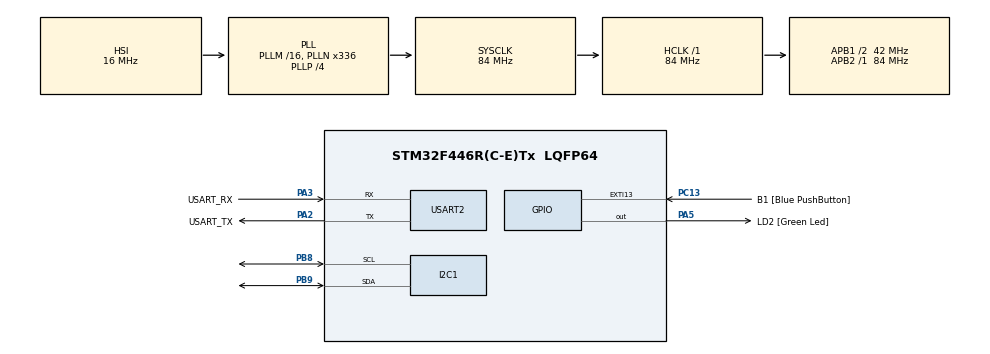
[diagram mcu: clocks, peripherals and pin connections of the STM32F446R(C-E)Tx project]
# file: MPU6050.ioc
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I2C1.I2C_Mode=I2C_Standard
Mcu.Family=STM32F4
Mcu.Name=STM32F446R(C-E)Tx
Mcu.Package=LQFP64
NVIC.PriorityGroup=NVIC_PRIORITYGROUP_0
PA13.GPIO_Label=TMS
PA13.Mode=Serial_Wire
PA13.Signal=SYS_JTMS-SWDIO
PA14.GPIO_Label=TCK
PA14.Mode=Serial_Wire
PA14.Signal=SYS_JTCK-SWCLK
PA2.GPIO_Label=USART_TX
PA2.Mode=Asynchronous
PA2.Signal=USART2_TX
PA3.GPIO_Label=USART_RX
PA3.Mode=Asynchronous
PA3.Signal=USART2_RX
PA5.GPIO_Label=LD2 [Green Led]
PA5.Signal=GPIO_Output
PB3.GPIO_Label=SWO
PB3.Signal=SYS_JTDO-SWO
PB8.Mode=I2C
PB8.Signal=I2C1_SCL
PB9.Mode=I2C
PB9.Signal=I2C1_SDA
PC13.GPIO_Label=B1 [Blue PushButton]
PC13.GPIO_ModeDefaultEXTI=GPIO_MODE_IT_FALLING
PC13.Signal=GPXTI13
PC14-OSC32_IN.Mode=LSE-External-Oscillator
PC14-OSC32_IN.Signal=RCC_OSC32_IN
PC15-OSC32_OUT.Mode=LSE-External-Oscillator
PC15-OSC32_OUT.Signal=RCC_OSC32_OUT
PH0-OSC_IN.Mode=HSE-External-Oscillator
PH0-OSC_IN.Signal=RCC_OSC_IN
PH1-OSC_OUT.Mode=HSE-External-Oscillator
PH1-OSC_OUT.Signal=RCC_OSC_OUT
ProjectManager.HeapSize=0x200
ProjectManager.StackSize=0x400
ProjectManager.TargetToolchain=STM32CubeIDE
RCC.48MHZClocksFreq_Value=84000000
RCC.AHBFreq_Value=84000000
RCC.APB1CLKDivider=RCC_HCLK_DIV2
RCC.APB1Freq_Value=42000000
RCC.APB1TimFreq_Value=84000000
RCC.APB2Freq_Value=84000000
RCC.APB2TimFreq_Value=84000000
RCC.CortexFreq_Value=84000000
RCC.FLatency-AdvancedSettings=FLASH_LATENCY_2
RCC.HCLKFreq_Value=84000000
RCC.HSE_VALUE=8000000
RCC.HSI_VALUE=16000000
RCC.PLLN=336
RCC.PLLP=RCC_PLLP_DIV4
RCC.SYSCLKFreq_VALUE=84000000
RCC.SYSCLKSource=RCC_SYSCLKSOURCE_PLLCLK
RCC.USBFreq_Value=168000000
RCC.VCOOutputFreq_Value=336000000
USART2.VirtualMode=VM_ASYNC
board=NUCLEO-F446RE

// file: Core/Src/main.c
/* USER CODE BEGIN Header */
/**
  ******************************************************************************
  * @file           : main.c
  * @brief          : Main program body
  ******************************************************************************
  * @attention
  *
  * Copyright (c) 2024 STMicroelectronics.
  * All rights reserved.
  *
  * This software is licensed under terms that can be found in the LICENSE file
  * in the root directory of this software component.
  * If no LICENSE file comes with this software, it is provided AS-IS.
  *
  ******************************************************************************
  */
/* USER CODE END Header */
#include "main.h"
#include "i2c.h"
#include "usart.h"
#include "gpio.h"

/* USER CODE BEGIN Includes */
#include "MPU6050.h"
#include <stdio.h>
#include <string.h>

/* USER CODE END Includes */

/* USER CODE BEGIN PV */
Result_t result;
/* USER CODE END PV */

void SystemClock_Config(void);

int main(void)
{

  /* MCU Configuration--------------------------------------------------------*/

  /* Reset of all peripherals, Initializes the Flash interface and the Systick. */
  HAL_Init();

  /* Configure the system clock */
  SystemClock_Config();

  /* Initialize all configured peripherals */
  MX_GPIO_Init();
  MX_USART2_UART_Init();
  MX_I2C1_Init();
  /* USER CODE BEGIN 2 */
  result = MPU6050Init();
  result = MPU6050SetConf();

  char buf[100];

  /* USER CODE END 2 */

  /* Infinite loop */
  while (1)
  {

    /* USER CODE BEGIN 3 */
	  /////////////////EXAMPELS Ax and Gx //////////////////////////
	  MPU6050_Read_Accel();
	  MPU6050_Read_Gyro();
	  MPU6050AccelValue_t* AccelometerPtr;
	  MPU6050GyroValue_t* GyroMeterPtr;
	  AccelometerPtr = getAccel();
	  GyroMeterPtr = getGyro();
	  float Accelometer = AccelometerPtr->Ax;
	  float Gyro = GyroMeterPtr->Gx;
	  snprintf(buf, 100, "A: %0.3f G: %0.3f \n", Accelometer, Gyro); // @suppress("Float formatting support")
	  HAL_UART_Transmit(&huart2, (uint8_t*)buf, strlen(buf), 1000);
  }
  /* USER CODE END 3 */
}

void SystemClock_Config(void)
{
  RCC_OscInitTypeDef RCC_OscInitStruct = {0};
  RCC_ClkInitTypeDef RCC_ClkInitStruct = {0};

  /** Configure the main internal regulator output voltage
  */
  __HAL_RCC_PWR_CLK_ENABLE();
  __HAL_PWR_VOLTAGESCALING_CONFIG(PWR_REGULATOR_VOLTAGE_SCALE3);

  /** Initializes the RCC Oscillators according to the specified parameters
  * in the RCC_OscInitTypeDef structure.
  */
  RCC_OscInitStruct.OscillatorType = RCC_OSCILLATORTYPE_HSI;
  RCC_OscInitStruct.HSIState = RCC_HSI_ON;
  RCC_OscInitStruct.HSICalibrationValue = RCC_HSICALIBRATION_DEFAULT;
  RCC_OscInitStruct.PLL.PLLState = RCC_PLL_ON;
  RCC_OscInitStruct.PLL.PLLSource = RCC_PLLSOURCE_HSI;
  RCC_OscInitStruct.PLL.PLLM = 16;
  RCC_OscInitStruct.PLL.PLLN = 336;
  RCC_OscInitStruct.PLL.PLLP = RCC_PLLP_DIV4;
  RCC_OscInitStruct.PLL.PLLQ = 2;
  RCC_OscInitStruct.PLL.PLLR = 2;
  if (HAL_RCC_OscConfig(&RCC_OscInitStruct) != HAL_OK)
  {
    Error_Handler();
  }

  /** Initializes the CPU, AHB and APB buses clocks
  */
  RCC_ClkInitStruct.ClockType = RCC_CLOCKTYPE_HCLK|RCC_CLOCKTYPE_SYSCLK
                              |RCC_CLOCKTYPE_PCLK1|RCC_CLOCKTYPE_PCLK2;
  RCC_ClkInitStruct.SYSCLKSource = RCC_SYSCLKSOURCE_PLLCLK;
  RCC_ClkInitStruct.AHBCLKDivider = RCC_SYSCLK_DIV1;
  RCC_ClkInitStruct.APB1CLKDivider = RCC_HCLK_DIV2;
  RCC_ClkInitStruct.APB2CLKDivider = RCC_HCLK_DIV1;

  if (HAL_RCC_ClockConfig(&RCC_ClkInitStruct, FLASH_LATENCY_2) != HAL_OK)
  {
    Error_Handler();
  }
}

void Error_Handler(void)
{
  __disable_irq();
  while (1)
  {
  }
}
